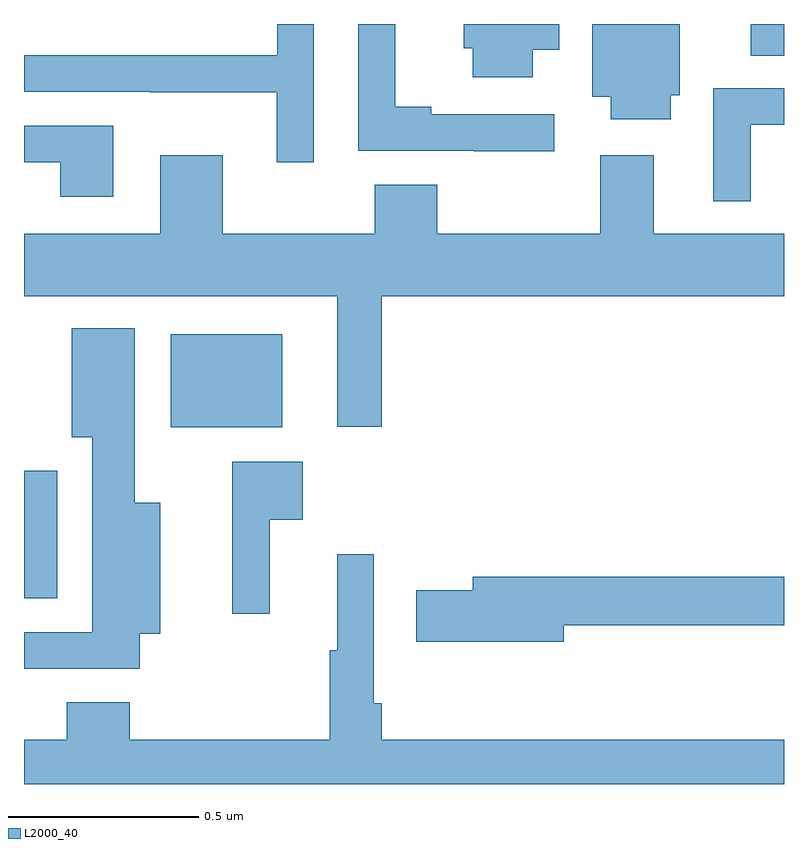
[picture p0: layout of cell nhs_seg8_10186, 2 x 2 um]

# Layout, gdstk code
import gdstk
lib = gdstk.Library(unit=1e-6, precision=1e-09)
def R(c, l, rs):  # rectangles x0, y0, x1, y1
    for r in rs: c.add(gdstk.rectangle(r[:2], r[2:], *l))
def P(c, l, *ps):  # polygons
    for p in ps: c.add(gdstk.Polygon(p, *l))
L2000_40 = (2000, 40)

nhs_seg8_10186 = lib.new_cell('nhs_seg8_10186')
R(nhs_seg8_10186, L2000_40, [(246,1098.389,246.088,1098.724), (246.386,1098.839,246.679,1099.084), (247.913,1099.816,248,1099.9)])
P(nhs_seg8_10186, L2000_40, [(247.396,1099.662),(247.072,1099.662),(247.072,1099.682),(246.977,1099.682),(246.977,1099.9),(246.879,1099.9),(246.879,1099.566),(247.183,1099.566),(247.183,1099.565),(247.396,1099.565)],
  [(247.339,1099.832),(247.408,1099.832),(247.408,1099.9),(247.157,1099.9),(247.157,1099.836),(247.181,1099.836),(247.181,1099.76),(247.339,1099.76)],
  [(246.762,1099.9),(246.666,1099.9),(246.666,1099.818),(246,1099.818),(246,1099.722),(246.331,1099.722),(246.331,1099.721),(246.665,1099.721),(246.665,1099.536),(246.762,1099.536)],
  [(247.702,1099.713),(247.726,1099.713),(247.726,1099.9),(247.496,1099.9),(247.496,1099.709),(247.544,1099.709),(247.544,1099.649),(247.702,1099.649)],
  [(247.912,1099.635),(248,1099.635),(248,1099.731),(247.814,1099.731),(247.814,1099.434),(247.912,1099.434)],
  [(246.235,1099.632),(246,1099.632),(246,1099.536),(246.095,1099.536),(246.095,1099.446),(246.235,1099.446)],
  [(247.517,1099.555),(247.517,1099.348),(247.087,1099.348),(247.087,1099.477),(246.923,1099.477),(246.923,1099.348),(246.523,1099.348),(246.523,1099.555),(246.359,1099.555),(246.359,1099.348),(246,1099.348),(246,1099.184),(246.824,1099.184),(246.824,1098.84),(246.941,1098.84),(246.941,1099.184),(248,1099.184),(248,1099.348),(247.657,1099.348),(247.657,1099.555)],
  [(246.305,1098.296),(246.358,1098.296),(246.358,1098.64),(246.292,1098.64),(246.292,1099.099),(246.125,1099.099),(246.125,1098.812),(246.179,1098.812),(246.179,1098.3),(246,1098.3),(246,1098.203),(246.305,1098.203)],
  [(246.647,1098.596),(246.733,1098.596),(246.733,1098.748),(246.548,1098.748),(246.548,1098.348),(246.647,1098.348)],
  [(248,1098.016),(246.941,1098.016),(246.941,1098.112),(246.921,1098.112),(246.921,1098.505),(246.824,1098.505),(246.824,1098.252),(246.805,1098.252),(246.805,1098.016),(246.278,1098.016),(246.278,1098.115),(246.113,1098.115),(246.113,1098.016),(246,1098.016),(246,1097.9),(248,1097.9)],
  [(247.42,1098.318),(248,1098.318),(248,1098.446),(247.181,1098.446),(247.181,1098.41),(247.032,1098.41),(247.032,1098.275),(247.42,1098.275)])

lib.write_gds('nhs_seg8_10186.gds')
